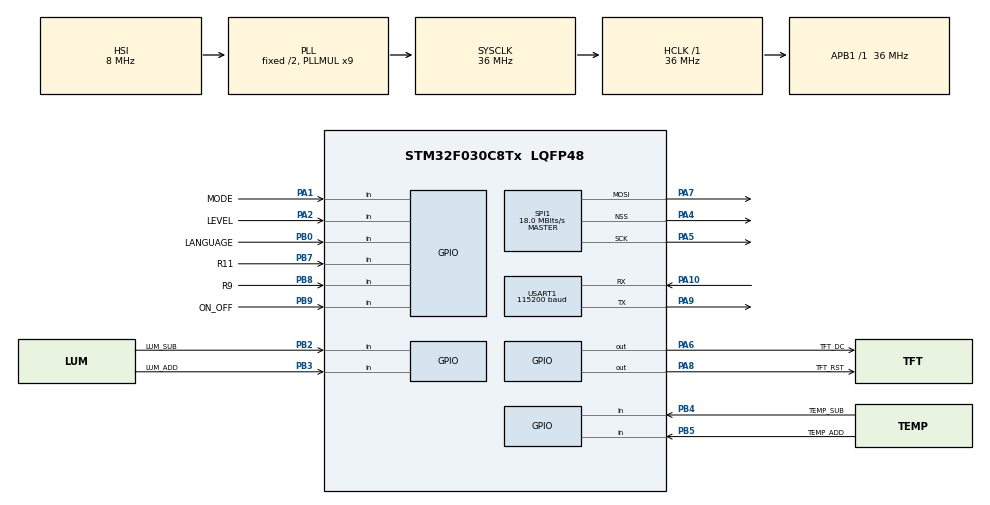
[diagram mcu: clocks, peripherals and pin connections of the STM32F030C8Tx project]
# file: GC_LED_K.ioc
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Dma.Request0=SPI1_TX
Dma.SPI1_TX.0.Direction=DMA_MEMORY_TO_PERIPH
Dma.SPI1_TX.0.Instance=DMA1_Channel3
Dma.SPI1_TX.0.MemDataAlignment=DMA_MDATAALIGN_BYTE
Dma.SPI1_TX.0.MemInc=DMA_MINC_ENABLE
Dma.SPI1_TX.0.Mode=DMA_NORMAL
Dma.SPI1_TX.0.PeriphDataAlignment=DMA_PDATAALIGN_BYTE
Dma.SPI1_TX.0.PeriphInc=DMA_PINC_DISABLE
Dma.SPI1_TX.0.Priority=DMA_PRIORITY_LOW
Mcu.Family=STM32F0
Mcu.Name=STM32F030C8Tx
Mcu.Package=LQFP48
NVIC.DMA1_Channel2_3_IRQn=true\:0\:0\:false\:false\:true\:false\:true\:true
NVIC.TIM6_IRQn=true\:0\:0\:false\:false\:true\:true\:true\:true
NVIC.USART1_IRQn=true\:0\:0\:false\:false\:true\:true\:true\:true
PA1.GPIO_Label=MODE
PA1.GPIO_PuPd=GPIO_PULLUP
PA1.Signal=GPIO_Input
PA10.Mode=Asynchronous
PA10.Signal=USART1_RX
PA13.Mode=Serial_Wire
PA13.Signal=SYS_SWDIO
PA14.Mode=Serial_Wire
PA14.Signal=SYS_SWCLK
PA2.GPIO_Label=LEVEL
PA2.GPIO_PuPd=GPIO_PULLUP
PA2.Signal=GPIO_Input
PA4.Mode=NSS_Signal_Hard_Output
PA4.Signal=SPI1_NSS
PA5.Mode=TX_Only_Simplex_Unidirect_Master
PA5.Signal=SPI1_SCK
PA6.GPIO_Label=TFT_DC
PA6.Signal=GPIO_Output
PA7.Mode=TX_Only_Simplex_Unidirect_Master
PA7.Signal=SPI1_MOSI
PA8.GPIO_Label=TFT_RST
PA8.Signal=GPIO_Output
PA9.Mode=Asynchronous
PA9.Signal=USART1_TX
PB0.GPIO_Label=LANGUAGE
PB0.GPIO_PuPd=GPIO_PULLUP
PB0.Signal=GPIO_Input
PB2.GPIO_Label=LUM_SUB
PB2.GPIO_PuPd=GPIO_PULLUP
PB2.Signal=GPIO_Input
PB3.GPIO_Label=LUM_ADD
PB3.GPIO_PuPd=GPIO_PULLUP
PB3.Signal=GPIO_Input
PB4.GPIO_Label=TEMP_SUB
PB4.GPIO_PuPd=GPIO_PULLUP
PB4.Signal=GPIO_Input
PB5.GPIO_Label=TEMP_ADD
PB5.GPIO_PuPd=GPIO_PULLUP
PB5.Signal=GPIO_Input
PB7.GPIO_Label=R11
PB7.GPIO_PuPd=GPIO_PULLUP
PB7.Signal=GPIO_Input
PB8.GPIO_Label=R9
PB8.GPIO_PuPd=GPIO_PULLUP
PB8.Signal=GPIO_Input
PB9.GPIO_Label=ON_OFF
PB9.GPIO_PuPd=GPIO_PULLUP
PB9.Signal=GPIO_Input
ProjectManager.HeapSize=0x200
ProjectManager.StackSize=0x400
ProjectManager.TargetToolchain=MDK-ARM V5.32
RCC.AHBFreq_Value=36000000
RCC.APB1Freq_Value=36000000
RCC.APB1TimFreq_Value=36000000
RCC.HCLKFreq_Value=36000000
RCC.PLLMUL=RCC_PLL_MUL9
RCC.SYSCLKFreq_VALUE=36000000
RCC.SYSCLKSource=RCC_SYSCLKSOURCE_PLLCLK
SPI1.BaudRatePrescaler=SPI_BAUDRATEPRESCALER_2
SPI1.CalculateBaudRate=18.0 MBits/s
SPI1.DataSize=SPI_DATASIZE_8BIT
SPI1.Direction=SPI_DIRECTION_2LINES
SPI1.Mode=SPI_MODE_MASTER
SPI1.NSSPMode=SPI_NSS_PULSE_ENABLE
SPI1.VirtualNSS=VM_NSSHARD
SPI1.VirtualType=VM_MASTER
TIM6.Period=17
TIM6.Prescaler=9999
USART1.BaudRate=115200
USART1.VirtualMode-Asynchronous=VM_ASYNC
VP_TIM6_VS_ClockSourceINT.Mode=Enable_Timer
board=custom

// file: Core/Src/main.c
/* USER CODE BEGIN Header */
/**
  ******************************************************************************
  * @file           : main.c
  * @brief          : Main program body
  ******************************************************************************
  * @attention
  *
  * Copyright (c) 2025 STMicroelectronics.
  * All rights reserved.
  *
  * This software is licensed under terms that can be found in the LICENSE file
  * in the root directory of this software component.
  * If no LICENSE file comes with this software, it is provided AS-IS.
  *
  ******************************************************************************
  */
/* USER CODE END Header */
#include "main.h"
#include "dma.h"
#include "spi.h"
#include "tim.h"
#include "usart.h"
#include "gpio.h"

/* USER CODE BEGIN Includes */
#include "tft.h"
#include "key.h"
#include "myflash.h"
#include "usart_control.h"
#include "pwm_control.h"
/* USER CODE END Includes */

void SystemClock_Config(void);

/* USER CODE BEGIN 0 */
uint8_t data1;
uint8_t pwm_change_flag = 0;
static uint32_t last_check_time = 0;
extern SystemDef sys;
/* USER CODE END 0 */

int main(void)
{

  /* MCU Configuration--------------------------------------------------------*/

  /* Reset of all peripherals, Initializes the Flash interface and the Systick. */
  HAL_Init();

  /* Configure the system clock */
  SystemClock_Config();

  /* Initialize all configured peripherals */
  MX_GPIO_Init();
  MX_DMA_Init();
  MX_SPI1_Init();
  MX_USART1_UART_Init();
  MX_TIM6_Init();
  /* USER CODE BEGIN 2 */
 	HAL_TIM_Base_Start_IT(&htim6);
  HAL_UART_Receive_IT(&huart1, &data1, 1);
	ReadInf();
  Param_init();
  tft_init();
  tft_power_off();
  huart1_send(0x01, 0); // 握手
	HAL_Delay(10);
	JudgmentMessage();
  /* USER CODE END 2 */

  /* Infinite loop */
  while (1)
  {

    /* USER CODE BEGIN 3 */
		if (HAL_GetTick() - last_check_time >= 1)
		{ // 每1ms执行一次
			last_check_time = HAL_GetTick();
			KeyFunc();
		}
		if(pwm_change_flag == 1)
		{
			pwm_change_flag = 0;
			pwm_send_to_driverboard();
		}
    JudgmentMessage();
  }
  /* USER CODE END 3 */
}

void SystemClock_Config(void)
{
  RCC_OscInitTypeDef RCC_OscInitStruct = {0};
  RCC_ClkInitTypeDef RCC_ClkInitStruct = {0};
  RCC_PeriphCLKInitTypeDef PeriphClkInit = {0};

  /** Initializes the RCC Oscillators according to the specified parameters
  * in the RCC_OscInitTypeDef structure.
  */
  RCC_OscInitStruct.OscillatorType = RCC_OSCILLATORTYPE_HSI;
  RCC_OscInitStruct.HSIState = RCC_HSI_ON;
  RCC_OscInitStruct.HSICalibrationValue = RCC_HSICALIBRATION_DEFAULT;
  RCC_OscInitStruct.PLL.PLLState = RCC_PLL_ON;
  RCC_OscInitStruct.PLL.PLLSource = RCC_PLLSOURCE_HSI;
  RCC_OscInitStruct.PLL.PLLMUL = RCC_PLL_MUL9;
  RCC_OscInitStruct.PLL.PREDIV = RCC_PREDIV_DIV1;
  if (HAL_RCC_OscConfig(&RCC_OscInitStruct) != HAL_OK)
  {
    Error_Handler();
  }

  /** Initializes the CPU, AHB and APB buses clocks
  */
  RCC_ClkInitStruct.ClockType = RCC_CLOCKTYPE_HCLK|RCC_CLOCKTYPE_SYSCLK
                              |RCC_CLOCKTYPE_PCLK1;
  RCC_ClkInitStruct.SYSCLKSource = RCC_SYSCLKSOURCE_PLLCLK;
  RCC_ClkInitStruct.AHBCLKDivider = RCC_SYSCLK_DIV1;
  RCC_ClkInitStruct.APB1CLKDivider = RCC_HCLK_DIV1;

  if (HAL_RCC_ClockConfig(&RCC_ClkInitStruct, FLASH_LATENCY_1) != HAL_OK)
  {
    Error_Handler();
  }
  PeriphClkInit.PeriphClockSelection = RCC_PERIPHCLK_USART1;
  PeriphClkInit.Usart1ClockSelection = RCC_USART1CLKSOURCE_PCLK1;
  if (HAL_RCCEx_PeriphCLKConfig(&PeriphClkInit) != HAL_OK)
  {
    Error_Handler();
  }
}

/* USER CODE BEGIN 4 */
void HAL_TIM_PeriodElapsedCallback(TIM_HandleTypeDef *htim)
{
  static uint16_t tim6_count = 0;
  if (htim == &htim6)
  {
    if(tim6_count++ >= 2) // 每10ms执行一次
    {
      tim6_count = 0;
      pwm_change_flag = 1;
    }
  }
}
/* USER CODE END 4 */

void Error_Handler(void)
{
  __disable_irq();
  while (1)
  {
  }
}
